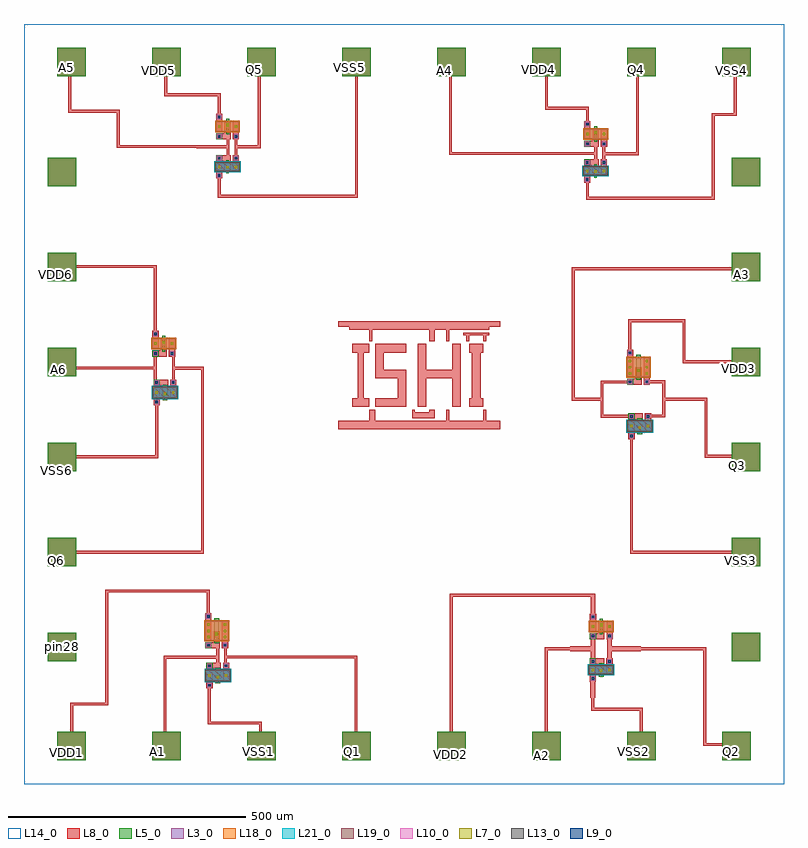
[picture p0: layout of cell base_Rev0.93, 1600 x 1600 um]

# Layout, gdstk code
from math import pi, radians
import gdstk
lib = gdstk.Library(unit=1e-6, precision=1e-09)
def R(c, l, rs):  # rectangles x0, y0, x1, y1
    for r in rs: c.add(gdstk.rectangle(r[:2], r[2:], *l))
def A(c, l, x, y, w, h, nx, ny, dx, dy):  # array of equal rectangles
    R(c, l, [(x+i*dx, y+j*dy, x+i*dx+w, y+j*dy+h) for i in range(nx) for j in range(ny)])
def P(c, l, *ps):  # polygons
    for p in ps: c.add(gdstk.Polygon(p, *l))
L3_0 = (3, 0)
L5_0 = (5, 0)
L7_0 = (7, 0)
L8_0 = (8, 0)
L9_0 = (9, 0)
L10_0 = (10, 0)
L13_0 = (13, 0)
L14_0 = (14, 0)
L18_0 = (18, 0)
L19_0 = (19, 0)
L21_0 = (21, 0)

c_16_5x5_flame = lib.new_cell('16_5x5_flame')
R(c_16_5x5_flame, L14_0, [(-800,-800,800,800), (-750,-750,750,750)])

tin_m1 = lib.new_cell('tin_M1')

v_tin_line3 = lib.new_cell('V_tin_line3')
r = gdstk.Reference(tin_m1, (-20.5,74), rotation=pi); r.repetition = gdstk.Repetition(2, 3, v1=(0,13), v2=(20,20)); v_tin_line3.add(r)
r = gdstk.Reference(tin_m1, (-20.5,-88), rotation=pi); r.repetition = gdstk.Repetition(2, 3, v1=(0,13), v2=(20,-20)); v_tin_line3.add(r)

pmos_array = lib.new_cell('pmos_array')
pmos_array.add(gdstk.Reference(v_tin_line3, (-40,0)))
pmos_array.add(gdstk.Reference(v_tin_line3, (107,0)))

nmos_array = lib.new_cell('nmos_array')
nmos_array.add(gdstk.Reference(v_tin_line3, (-40,0)))
nmos_array.add(gdstk.Reference(v_tin_line3, (107,0)))

resistor_array = lib.new_cell('resistor_array')

cap_con = lib.new_cell('cap_con')
r = gdstk.Reference(tin_m1, (28.25,35.5), rotation=pi); r.repetition = gdstk.Repetition(4, 1, v1=(-13,0), v2=(0,0)); cap_con.add(r)
r = gdstk.Reference(tin_m1, (28.25,-49.5), rotation=pi); r.repetition = gdstk.Repetition(4, 1, v1=(-13,0), v2=(0,0)); cap_con.add(r)

tin_m1_cap_array = lib.new_cell('tin_m1_cap_array')
r = gdstk.Reference(cap_con, (-80,-80)); r.repetition = gdstk.Repetition(2, 2, v1=(150,0), v2=(0,150)); tin_m1_cap_array.add(r)

base_array = lib.new_cell('base_array')
base_array.add(gdstk.Reference(pmos_array, (-160,160)))
base_array.add(gdstk.Reference(nmos_array, (-160,-160)))
base_array.add(gdstk.Reference(resistor_array, (160,-160)))
base_array.add(gdstk.Reference(tin_m1_cap_array, (160,160)))

pad_60_m1_tin = lib.new_cell('pad_60_m1_tin')
R(pad_60_m1_tin, L5_0, [(-30,-30,30,30), (-30,-30,30,30)])
R(pad_60_m1_tin, L8_0, [(-30,-30,30,30)])
r = gdstk.Reference(tin_m1, (22,-23), rotation=pi/2); r.repetition = gdstk.Repetition(4, 4, v1=(0,15), v2=(-15,0)); pad_60_m1_tin.add(r)

dcont = lib.new_cell('dcont')
R(dcont, L3_0, [(-6.5,-6.5,6.5,6.5)])
R(dcont, L7_0, [(-2.5,-2.5,2.5,2.5)])
R(dcont, L8_0, [(-6.5,-6.5,6.5,6.5)])

pcont = lib.new_cell('pcont')
R(pcont, L5_0, [(-6.5,-6.5,6.5,6.5)])
R(pcont, L7_0, [(-2.5,-2.5,2.5,2.5)])
R(pcont, L8_0, [(-6.5,-6.5,6.5,6.5)])
R(pcont, L13_0, [(-2.5,-2.5,2.5,2.5)])

via = lib.new_cell('Via')
R(via, L8_0, [(-6.5,-6.5,6.5,6.5)])
R(via, L9_0, [(-2.5,-2.5,2.5,2.5)])
R(via, L10_0, [(-5,-5,5,5)])
R(via, L13_0, [(-2.5,-2.5,2.5,2.5)])

nch_1 = lib.new_cell('Nch$1')
R(nch_1, L3_0, [(0,17,48,37)])
R(nch_1, L19_0, [(-2,15,50,39)])
R(nch_1, L21_0, [(-4,13,52,41)])
nch_1.add(gdstk.FlexPath([(6.5,17),(6.5,37)], 13, ends="flush", simple_path=True, layer=8, datatype=0))  # L8_0
nch_1.add(gdstk.FlexPath([(41.5,17),(41.5,37)], 13, ends="flush", simple_path=True, layer=8, datatype=0))  # L8_0
nch_1.add(gdstk.FlexPath([(6.5,47.5),(24,47.5),(24,43.5)], 13, ends="flush", simple_path=True, layer=8, datatype=0))  # L8_0
nch_1.add(gdstk.FlexPath([(6.5,6.5),(6.5,21)], 13, ends="flush", simple_path=True, layer=8, datatype=0))  # L8_0
nch_1.add(gdstk.FlexPath([(24,17.5),(24,47.5)], 13, ends="flush", simple_path=True, layer=8, datatype=0))  # L8_0
nch_1.add(gdstk.FlexPath([(41.5,33),(41.5,46.5)], 13, ends="flush", simple_path=True, layer=8, datatype=0))  # L8_0
nch_1.add(gdstk.FlexPath([(24,17),(24,37)], 10, ends=(6.5, 6.5), simple_path=True, layer=5, datatype=0))  # L5_0
nch_1.add(gdstk.Reference(dcont, (6.5,27)))
nch_1.add(gdstk.Reference(dcont, (41.5,27)))
nch_1.add(gdstk.Reference(pcont, (6.5,47.5)))
nch_1.add(gdstk.Reference(via, (6.5,47.5)))
nch_1.add(gdstk.Reference(via, (6.5,6.5)))
nch_1.add(gdstk.Reference(dcont, (24,24)))
nch_1.add(gdstk.Reference(via, (41.5,47.5)))

pch = lib.new_cell('Pch')
R(pch, L3_0, [(0,17,48,57)])
R(pch, L18_0, [(-2,15,50,59)])
pch.add(gdstk.FlexPath([(6.5,17),(6.5,57)], 13, ends="flush", simple_path=True, layer=8, datatype=0))  # L8_0
pch.add(gdstk.FlexPath([(41.5,17),(41.5,57)], 13, ends="flush", simple_path=True, layer=8, datatype=0))  # L8_0
pch.add(gdstk.FlexPath([(6.5,6.5),(24,6.5),(24,10.5)], 13, ends="flush", simple_path=True, layer=8, datatype=0))  # L8_0
pch.add(gdstk.FlexPath([(6.5,53),(6.5,67.5)], 13, ends="flush", simple_path=True, layer=8, datatype=0))  # L8_0
pch.add(gdstk.FlexPath([(24,6.5),(24,36.5)], 13, ends="flush", simple_path=True, layer=8, datatype=0))  # L8_0
pch.add(gdstk.FlexPath([(41.5,9),(41.5,21)], 13, ends="flush", simple_path=True, layer=8, datatype=0))  # L8_0
pch.add(gdstk.FlexPath([(24,17),(24,57)], 10, ends=(6.5, 6.5), simple_path=True, layer=5, datatype=0))  # L5_0
pch.add(gdstk.Reference(dcont, (6.5,24)))
pch.add(gdstk.Reference(dcont, (6.5,37)))
pch.add(gdstk.Reference(dcont, (6.5,50)))
pch.add(gdstk.Reference(dcont, (41.5,24)))
pch.add(gdstk.Reference(dcont, (41.5,37)))
pch.add(gdstk.Reference(dcont, (41.5,50)))
pch.add(gdstk.Reference(pcont, (6.5,6.5)))
pch.add(gdstk.Reference(via, (6.5,6.5)))
pch.add(gdstk.Reference(via, (6.5,67.5)))
pch.add(gdstk.Reference(dcont, (24,30)))
pch.add(gdstk.Reference(via, (41.5,6.5)))

inverter_takuzen = lib.new_cell('INVERTER_Takuzen')
inverter_takuzen.add(gdstk.FlexPath([(55.7,87.8),(55.7,-2.4)], 6, ends="flush", simple_path=True, layer=8, datatype=0))  # L8_0
inverter_takuzen.add(gdstk.FlexPath([(72.1,111.4),(72.1,-8.8)], 6, ends="flush", simple_path=True, layer=8, datatype=0))  # L8_0
inverter_takuzen.add(gdstk.FlexPath([(38.2,6.7),(38.2,-52.7)], 6, ends="flush", simple_path=True, layer=8, datatype=0))  # L8_0
inverter_takuzen.add(gdstk.FlexPath([(53.9,39.2),(-19.7,39.2)], 6, ends="flush", simple_path=True, layer=8, datatype=0))  # L8_0
inverter_takuzen.add(gdstk.FlexPath([(72.7,39.5),(135.3,39.5)], 6, ends="flush", simple_path=True, layer=8, datatype=0))  # L8_0
inverter_takuzen.add(gdstk.FlexPath([(36.2,124.6),(36.2,178.2)], 6, ends="flush", simple_path=True, layer=8, datatype=0))  # L8_0
inverter_takuzen.add(gdstk.Reference(nch_1, (32.1,-26.5)))
inverter_takuzen.add(gdstk.Reference(pch, (29.6,57.5)))
inverter_takuzen.add(gdstk.Label('Q', (117.2,40.9), layer=8, texttype=0))

dcont_2 = lib.new_cell('dcont$2')
R(dcont_2, L3_0, [(-6.5,-6.5,6.5,6.5)])
R(dcont_2, L7_0, [(-2.5,-2.5,2.5,2.5)])
R(dcont_2, L8_0, [(-6.5,-6.5,6.5,6.5)])

pcont_2 = lib.new_cell('pcont$2')
R(pcont_2, L5_0, [(-6.5,-6.5,6.5,6.5)])
R(pcont_2, L7_0, [(-2.5,-2.5,2.5,2.5)])
R(pcont_2, L8_0, [(-6.5,-6.5,6.5,6.5)])
R(pcont_2, L13_0, [(-2.5,-2.5,2.5,2.5)])

via_2 = lib.new_cell('Via$2')
R(via_2, L8_0, [(-6.5,-6.5,6.5,6.5)])
R(via_2, L9_0, [(-2.5,-2.5,2.5,2.5)])
R(via_2, L10_0, [(-5,-5,5,5)])
R(via_2, L13_0, [(-2.5,-2.5,2.5,2.5)])

nch = lib.new_cell('Nch')
R(nch, L3_0, [(0,17,48,32)])
R(nch, L19_0, [(-2,15,50,34)])
R(nch, L21_0, [(-4,13,52,36)])
nch.add(gdstk.FlexPath([(6.5,17),(6.5,32)], 13, ends="flush", simple_path=True, layer=8, datatype=0))  # L8_0
nch.add(gdstk.FlexPath([(41.5,17),(41.5,32)], 13, ends="flush", simple_path=True, layer=8, datatype=0))  # L8_0
nch.add(gdstk.FlexPath([(6.5,42.5),(24,42.5),(24,38.5)], 13, ends="flush", simple_path=True, layer=8, datatype=0))  # L8_0
nch.add(gdstk.FlexPath([(6.5,6.5),(6.5,21)], 13, ends="flush", simple_path=True, layer=8, datatype=0))  # L8_0
nch.add(gdstk.FlexPath([(24,17),(24,42.5)], 13, ends="flush", simple_path=True, layer=8, datatype=0))  # L8_0
nch.add(gdstk.FlexPath([(41.5,28),(41.5,41.5)], 13, ends="flush", simple_path=True, layer=8, datatype=0))  # L8_0
nch.add(gdstk.FlexPath([(24,17),(24,32)], 10, ends=(6.5, 6.5), simple_path=True, layer=5, datatype=0))  # L5_0
nch.add(gdstk.Reference(dcont_2, (6.5,24.5)))
nch.add(gdstk.Reference(dcont_2, (41.5,24.5)))
nch.add(gdstk.Reference(pcont_2, (6.5,42.5)))
nch.add(gdstk.Reference(via_2, (6.5,42.5)))
nch.add(gdstk.Reference(via_2, (6.5,6.5)))
nch.add(gdstk.Reference(dcont_2, (24,23.5)))
nch.add(gdstk.Reference(via_2, (41.5,42.5)))

pch_1 = lib.new_cell('Pch$1')
R(pch_1, L3_0, [(0,17,48,37)])
R(pch_1, L18_0, [(-2,15,50,39)])
pch_1.add(gdstk.FlexPath([(6.5,17),(6.5,37)], 13, ends="flush", simple_path=True, layer=8, datatype=0))  # L8_0
pch_1.add(gdstk.FlexPath([(41.5,17),(41.5,37)], 13, ends="flush", simple_path=True, layer=8, datatype=0))  # L8_0
pch_1.add(gdstk.FlexPath([(6.5,6.5),(24,6.5),(24,10.5)], 13, ends="flush", simple_path=True, layer=8, datatype=0))  # L8_0
pch_1.add(gdstk.FlexPath([(6.5,33),(6.5,47.5)], 13, ends="flush", simple_path=True, layer=8, datatype=0))  # L8_0
pch_1.add(gdstk.FlexPath([(24,6.5),(24,36.5)], 13, ends="flush", simple_path=True, layer=8, datatype=0))  # L8_0
pch_1.add(gdstk.FlexPath([(41.5,9),(41.5,21)], 13, ends="flush", simple_path=True, layer=8, datatype=0))  # L8_0
pch_1.add(gdstk.FlexPath([(24,17),(24,37)], 6, ends=(6.5, 6.5), simple_path=True, layer=5, datatype=0))  # L5_0
pch_1.add(gdstk.Reference(dcont_2, (6.5,27)))
pch_1.add(gdstk.Reference(dcont_2, (41.5,27)))
pch_1.add(gdstk.Reference(pcont_2, (6.5,6.5)))
pch_1.add(gdstk.Reference(via_2, (6.5,6.5)))
pch_1.add(gdstk.Reference(via_2, (6.5,47.5)))
pch_1.add(gdstk.Reference(dcont_2, (24,30)))
pch_1.add(gdstk.Reference(via_2, (41.5,6.5)))

inverter_elderline = lib.new_cell('INVERTER_elderline')
P(inverter_elderline, L8_0, [(-42.6,88.4),(-42.6,88.4),(-42.6,88.4),(-42.6,88.4)])
inverter_elderline.add(gdstk.FlexPath([(-144.1,66.2),(-144.1,11.1)], 10, ends="flush", simple_path=True, layer=8, datatype=0))  # L8_0
inverter_elderline.add(gdstk.FlexPath([(-109.3,66),(-109.3,11.4)], 10, ends="flush", simple_path=True, layer=8, datatype=0))  # L8_0
inverter_elderline.add(gdstk.FlexPath([(-144,101.4),(-144,152.6)], 10, ends="flush", simple_path=True, layer=8, datatype=0))  # L8_0
inverter_elderline.add(gdstk.FlexPath([(-109.1,40),(-43.6,40)], 10, ends="flush", simple_path=True, layer=8, datatype=0))  # L8_0
inverter_elderline.add(gdstk.FlexPath([(-144.3,39.9),(-191.7,39.9)], 10, ends="flush", simple_path=True, layer=8, datatype=0))  # L8_0
inverter_elderline.add(gdstk.FlexPath([(-144.5,-24.2),(-144.5,-63.8)], 10, ends="flush", simple_path=True, layer=8, datatype=0))  # L8_0
inverter_elderline.add(gdstk.Reference(nch, (-151,-29.4)))
inverter_elderline.add(gdstk.Reference(pch_1, (-150.6,59.7)))
inverter_elderline.add(gdstk.Label('A', (-188.9,39), layer=8, texttype=0))
inverter_elderline.add(gdstk.Label('Q', (-46.3,40), layer=8, texttype=0))
inverter_elderline.add(gdstk.Label('VDD', (-144,148.1), layer=8, texttype=0))
inverter_elderline.add(gdstk.Label('VSS', (-146.3,-60.7), layer=8, texttype=0))

dcont_3 = lib.new_cell('dcont$3')
R(dcont_3, L3_0, [(-6.5,-6.5,6.5,6.5)])
R(dcont_3, L7_0, [(-2.5,-2.5,2.5,2.5)])
R(dcont_3, L8_0, [(-6.5,-6.5,6.5,6.5)])

pcont_3 = lib.new_cell('pcont$3')
R(pcont_3, L5_0, [(-6.5,-6.5,6.5,6.5)])
R(pcont_3, L7_0, [(-2.5,-2.5,2.5,2.5)])
R(pcont_3, L8_0, [(-6.5,-6.5,6.5,6.5)])
R(pcont_3, L13_0, [(-2.5,-2.5,2.5,2.5)])

via_3 = lib.new_cell('Via$3')
R(via_3, L8_0, [(-6.5,-6.5,6.5,6.5)])
R(via_3, L9_0, [(-2.5,-2.5,2.5,2.5)])
R(via_3, L10_0, [(-5,-5,5,5)])
R(via_3, L13_0, [(-2.5,-2.5,2.5,2.5)])

pch_1_1 = lib.new_cell('Pch$1$1')
R(pch_1_1, L3_0, [(0,17,48,57)])
R(pch_1_1, L18_0, [(-2,15,50,59)])
pch_1_1.add(gdstk.FlexPath([(6.5,17),(6.5,57)], 13, ends="flush", simple_path=True, layer=8, datatype=0))  # L8_0
pch_1_1.add(gdstk.FlexPath([(41.5,17),(41.5,57)], 13, ends="flush", simple_path=True, layer=8, datatype=0))  # L8_0
pch_1_1.add(gdstk.FlexPath([(6.5,6.5),(24,6.5),(24,10.5)], 13, ends="flush", simple_path=True, layer=8, datatype=0))  # L8_0
pch_1_1.add(gdstk.FlexPath([(6.5,53),(6.5,67.5)], 13, ends="flush", simple_path=True, layer=8, datatype=0))  # L8_0
pch_1_1.add(gdstk.FlexPath([(24,6.5),(24,36.5)], 13, ends="flush", simple_path=True, layer=8, datatype=0))  # L8_0
pch_1_1.add(gdstk.FlexPath([(41.5,9),(41.5,21)], 13, ends="flush", simple_path=True, layer=8, datatype=0))  # L8_0
pch_1_1.add(gdstk.FlexPath([(24,17),(24,57)], 10, ends=(6.5, 6.5), simple_path=True, layer=5, datatype=0))  # L5_0
pch_1_1.add(gdstk.Reference(dcont_3, (6.5,24)))
pch_1_1.add(gdstk.Reference(dcont_3, (6.5,37)))
pch_1_1.add(gdstk.Reference(dcont_3, (6.5,50)))
pch_1_1.add(gdstk.Reference(dcont_3, (41.5,24)))
pch_1_1.add(gdstk.Reference(dcont_3, (41.5,37)))
pch_1_1.add(gdstk.Reference(dcont_3, (41.5,50)))
pch_1_1.add(gdstk.Reference(pcont_3, (6.5,6.5)))
pch_1_1.add(gdstk.Reference(via_3, (6.5,6.5)))
pch_1_1.add(gdstk.Reference(via_3, (6.5,67.5)))
pch_1_1.add(gdstk.Reference(dcont_3, (24,30)))
pch_1_1.add(gdstk.Reference(via_3, (41.5,6.5)))

nch_2 = lib.new_cell('Nch$2')
R(nch_2, L3_0, [(0,17,48,37)])
R(nch_2, L19_0, [(-2,15,50,39)])
R(nch_2, L21_0, [(-4,13,52,41)])
nch_2.add(gdstk.FlexPath([(6.5,17),(6.5,37)], 13, ends="flush", simple_path=True, layer=8, datatype=0))  # L8_0
nch_2.add(gdstk.FlexPath([(41.5,17),(41.5,37)], 13, ends="flush", simple_path=True, layer=8, datatype=0))  # L8_0
nch_2.add(gdstk.FlexPath([(6.5,47.5),(24,47.5),(24,43.5)], 13, ends="flush", simple_path=True, layer=8, datatype=0))  # L8_0
nch_2.add(gdstk.FlexPath([(6.5,6.5),(6.5,21)], 13, ends="flush", simple_path=True, layer=8, datatype=0))  # L8_0
nch_2.add(gdstk.FlexPath([(24,17.5),(24,47.5)], 13, ends="flush", simple_path=True, layer=8, datatype=0))  # L8_0
nch_2.add(gdstk.FlexPath([(41.5,33),(41.5,46.5)], 13, ends="flush", simple_path=True, layer=8, datatype=0))  # L8_0
nch_2.add(gdstk.FlexPath([(24,17),(24,37)], 10, ends=(6.5, 6.5), simple_path=True, layer=5, datatype=0))  # L5_0
nch_2.add(gdstk.Reference(dcont_3, (6.5,27)))
nch_2.add(gdstk.Reference(dcont_3, (41.5,27)))
nch_2.add(gdstk.Reference(pcont_3, (6.5,47.5)))
nch_2.add(gdstk.Reference(via_3, (6.5,47.5)))
nch_2.add(gdstk.Reference(via_3, (6.5,6.5)))
nch_2.add(gdstk.Reference(dcont_3, (24,24)))
nch_2.add(gdstk.Reference(via_3, (41.5,47.5)))

inverter_pine_4_ = lib.new_cell('INVERTER_pine-4$')
inverter_pine_4_.add(gdstk.FlexPath([(-100.7,20.3),(-39.5,20.3)], 6, ends="flush", simple_path=True, layer=8, datatype=0))  # L8_0
inverter_pine_4_.add(gdstk.FlexPath([(23,56.3),(-40.2,56.3),(-40.2,-16.1),(26.6,-16.1)], 6, ends="flush", simple_path=True, layer=8, datatype=0))  # L8_0
inverter_pine_4_.add(gdstk.FlexPath([(50.4,57.2),(90,57.2),(90,-15.2),(52.8,-15.2)], 6, ends="flush", simple_path=True, layer=8, datatype=0))  # L8_0
inverter_pine_4_.add(gdstk.FlexPath([(90.6,20),(144.1,20)], 6, ends="flush", simple_path=True, layer=8, datatype=0))  # L8_0
inverter_pine_4_.add(gdstk.FlexPath([(22,-56.7),(22,-139.3)], 6, ends="flush", simple_path=True, layer=8, datatype=0))  # L8_0
inverter_pine_4_.add(gdstk.FlexPath([(18.5,117.3),(18.5,185.5)], 6, ends="flush", simple_path=True, layer=8, datatype=0))  # L8_0
inverter_pine_4_.add(gdstk.Reference(pch_1_1, (12.5,50.4)))
inverter_pine_4_.add(gdstk.Reference(nch_2, (15.3,-63.7)))
inverter_pine_4_.add(gdstk.Label('vdd', (18.5,181.5), layer=8, texttype=0))
inverter_pine_4_.add(gdstk.Label('A', (-97.1,19.1), layer=8, texttype=0))
inverter_pine_4_.add(gdstk.Label('Q', (138.9,20.2), layer=8, texttype=0))
inverter_pine_4_.add(gdstk.Label('vss', (23.3,-133.6), layer=8, texttype=0))

dcont_4 = lib.new_cell('dcont$4')
R(dcont_4, L3_0, [(-6.5,-6.5,6.5,6.5)])
R(dcont_4, L7_0, [(-2.5,-2.5,2.5,2.5)])
R(dcont_4, L8_0, [(-6.5,-6.5,6.5,6.5)])

pcont_4 = lib.new_cell('pcont$4')
R(pcont_4, L5_0, [(-6.5,-6.5,6.5,6.5)])
R(pcont_4, L7_0, [(-2.5,-2.5,2.5,2.5)])
R(pcont_4, L8_0, [(-6.5,-6.5,6.5,6.5)])
R(pcont_4, L13_0, [(-2.5,-2.5,2.5,2.5)])

via_4 = lib.new_cell('Via$4')
R(via_4, L8_0, [(-6.5,-6.5,6.5,6.5)])
R(via_4, L9_0, [(-2.5,-2.5,2.5,2.5)])
R(via_4, L10_0, [(-5,-5,5,5)])
R(via_4, L13_0, [(-2.5,-2.5,2.5,2.5)])

nch_3 = lib.new_cell('Nch$3')
R(nch_3, L3_0, [(0,17,48,32)])
R(nch_3, L19_0, [(-2,15,50,34)])
R(nch_3, L21_0, [(-4,13,52,36)])
nch_3.add(gdstk.FlexPath([(6.5,17),(6.5,32)], 13, ends="flush", simple_path=True, layer=8, datatype=0))  # L8_0
nch_3.add(gdstk.FlexPath([(41.5,17),(41.5,32)], 13, ends="flush", simple_path=True, layer=8, datatype=0))  # L8_0
nch_3.add(gdstk.FlexPath([(6.5,42.5),(24,42.5),(24,38.5)], 13, ends="flush", simple_path=True, layer=8, datatype=0))  # L8_0
nch_3.add(gdstk.FlexPath([(6.5,6.5),(6.5,21)], 13, ends="flush", simple_path=True, layer=8, datatype=0))  # L8_0
nch_3.add(gdstk.FlexPath([(24,17),(24,42.5)], 13, ends="flush", simple_path=True, layer=8, datatype=0))  # L8_0
nch_3.add(gdstk.FlexPath([(41.5,28),(41.5,41.5)], 13, ends="flush", simple_path=True, layer=8, datatype=0))  # L8_0
nch_3.add(gdstk.FlexPath([(24,17),(24,32)], 6, ends=(6.5, 6.5), simple_path=True, layer=5, datatype=0))  # L5_0
nch_3.add(gdstk.Reference(dcont_4, (6.5,24.5)))
nch_3.add(gdstk.Reference(dcont_4, (41.5,24.5)))
nch_3.add(gdstk.Reference(pcont_4, (6.5,42.5)))
nch_3.add(gdstk.Reference(via_4, (6.5,42.5)))
nch_3.add(gdstk.Reference(via_4, (6.5,6.5)))
nch_3.add(gdstk.Reference(dcont_4, (24,23.5)))
nch_3.add(gdstk.Reference(via_4, (41.5,42.5)))

pch_2 = lib.new_cell('Pch$2')
R(pch_2, L3_0, [(0,17,48,37)])
R(pch_2, L18_0, [(-2,15,50,39)])
pch_2.add(gdstk.FlexPath([(6.5,17),(6.5,37)], 13, ends="flush", simple_path=True, layer=8, datatype=0))  # L8_0
pch_2.add(gdstk.FlexPath([(41.5,17),(41.5,37)], 13, ends="flush", simple_path=True, layer=8, datatype=0))  # L8_0
pch_2.add(gdstk.FlexPath([(6.5,6.5),(24,6.5),(24,10.5)], 13, ends="flush", simple_path=True, layer=8, datatype=0))  # L8_0
pch_2.add(gdstk.FlexPath([(6.5,33),(6.5,47.5)], 13, ends="flush", simple_path=True, layer=8, datatype=0))  # L8_0
pch_2.add(gdstk.FlexPath([(24,6.5),(24,36.5)], 13, ends="flush", simple_path=True, layer=8, datatype=0))  # L8_0
pch_2.add(gdstk.FlexPath([(41.5,9),(41.5,21)], 13, ends="flush", simple_path=True, layer=8, datatype=0))  # L8_0
pch_2.add(gdstk.FlexPath([(24,17),(24,37)], 6, ends=(6.5, 6.5), simple_path=True, layer=5, datatype=0))  # L5_0
pch_2.add(gdstk.Reference(dcont_4, (6.5,27)))
pch_2.add(gdstk.Reference(dcont_4, (41.5,27)))
pch_2.add(gdstk.Reference(pcont_4, (6.5,6.5)))
pch_2.add(gdstk.Reference(via_4, (6.5,6.5)))
pch_2.add(gdstk.Reference(via_4, (6.5,47.5)))
pch_2.add(gdstk.Reference(dcont_4, (24,30)))
pch_2.add(gdstk.Reference(via_4, (41.5,6.5)))

inverter_radioheadozawa = lib.new_cell('INVERTER_radioheadozawa')
inverter_radioheadozawa.add(gdstk.FlexPath([(136.7,81.3),(136.7,41.8),(136.8,41.8),(136.8,42.2)], 6, ends="flush", simple_path=True, layer=8, datatype=0))  # L8_0
inverter_radioheadozawa.add(gdstk.FlexPath([(119.5,104.7),(119.5,23.1)], 6, ends="flush", simple_path=True, layer=8, datatype=0))  # L8_0
inverter_radioheadozawa.add(gdstk.FlexPath([(136.6,61.1),(207.6,61.1),(207.6,61.1)], 6, ends="flush", simple_path=True, layer=8, datatype=0))  # L8_0
inverter_radioheadozawa.add(gdstk.FlexPath([(119.4,61.3),(49.8,61.3)], 6, ends="flush", simple_path=True, layer=8, datatype=0))  # L8_0
inverter_radioheadozawa.add(gdstk.FlexPath([(102.2,19.1),(102.2,-32.8)], 6, ends="flush", simple_path=True, layer=8, datatype=0))  # L8_0
inverter_radioheadozawa.add(gdstk.FlexPath([(102.4,96.7),(102.4,156.7)], 6, ends="flush", simple_path=True, layer=8, datatype=0))  # L8_0
inverter_radioheadozawa.add(gdstk.Reference(nch_3, (95.2,0.1)))
inverter_radioheadozawa.add(gdstk.Reference(pch_2, (95.5,75.4)))
inverter_radioheadozawa.add(gdstk.Label('vout', (193.5,60.4), layer=8, texttype=0))
inverter_radioheadozawa.add(gdstk.Label('VDD', (102.9,149.1), layer=8, texttype=0))
inverter_radioheadozawa.add(gdstk.Label('vin', (55.9,60.6), layer=8, texttype=0))
inverter_radioheadozawa.add(gdstk.Label('VSS', (102.6,-26.4), layer=8, texttype=0))

dcont_5 = lib.new_cell('dcont$5')
R(dcont_5, L3_0, [(-6.5,-6.5,6.5,6.5)])
R(dcont_5, L7_0, [(-2.5,-2.5,2.5,2.5)])
R(dcont_5, L8_0, [(-6.5,-6.5,6.5,6.5)])

pcont_5 = lib.new_cell('pcont$5')
R(pcont_5, L5_0, [(-6.5,-6.5,6.5,6.5)])
R(pcont_5, L7_0, [(-2.5,-2.5,2.5,2.5)])
R(pcont_5, L8_0, [(-6.5,-6.5,6.5,6.5)])
R(pcont_5, L13_0, [(-2.5,-2.5,2.5,2.5)])

via_5 = lib.new_cell('Via$5')
R(via_5, L8_0, [(-6.5,-6.5,6.5,6.5)])
R(via_5, L9_0, [(-2.5,-2.5,2.5,2.5)])
R(via_5, L10_0, [(-5,-5,5,5)])
R(via_5, L13_0, [(-2.5,-2.5,2.5,2.5)])

pch_1_2 = lib.new_cell('Pch$1$2')
R(pch_1_2, L3_0, [(0,17,48,37)])
R(pch_1_2, L18_0, [(-2,15,50,39)])
pch_1_2.add(gdstk.FlexPath([(6.5,17),(6.5,37)], 13, ends="flush", simple_path=True, layer=8, datatype=0))  # L8_0
pch_1_2.add(gdstk.FlexPath([(41.5,17),(41.5,37)], 13, ends="flush", simple_path=True, layer=8, datatype=0))  # L8_0
pch_1_2.add(gdstk.FlexPath([(6.5,6.5),(24,6.5),(24,10.5)], 13, ends="flush", simple_path=True, layer=8, datatype=0))  # L8_0
pch_1_2.add(gdstk.FlexPath([(6.5,33),(6.5,47.5)], 13, ends="flush", simple_path=True, layer=8, datatype=0))  # L8_0
pch_1_2.add(gdstk.FlexPath([(24,6.5),(24,36.5)], 13, ends="flush", simple_path=True, layer=8, datatype=0))  # L8_0
pch_1_2.add(gdstk.FlexPath([(41.5,9),(41.5,21)], 13, ends="flush", simple_path=True, layer=8, datatype=0))  # L8_0
pch_1_2.add(gdstk.FlexPath([(24,17),(24,37)], 6, ends=(6.5, 6.5), simple_path=True, layer=5, datatype=0))  # L5_0
pch_1_2.add(gdstk.Reference(dcont_5, (6.5,27)))
pch_1_2.add(gdstk.Reference(dcont_5, (41.5,27)))
pch_1_2.add(gdstk.Reference(pcont_5, (6.5,6.5)))
pch_1_2.add(gdstk.Reference(via_5, (6.5,6.5)))
pch_1_2.add(gdstk.Reference(via_5, (6.5,47.5)))
pch_1_2.add(gdstk.Reference(dcont_5, (24,30)))
pch_1_2.add(gdstk.Reference(via_5, (41.5,6.5)))

nch_4 = lib.new_cell('Nch$4')
R(nch_4, L3_0, [(0,17,48,32)])
R(nch_4, L19_0, [(-2,15,50,34)])
R(nch_4, L21_0, [(-4,13,52,36)])
nch_4.add(gdstk.FlexPath([(6.5,17),(6.5,32)], 13, ends="flush", simple_path=True, layer=8, datatype=0))  # L8_0
nch_4.add(gdstk.FlexPath([(41.5,17),(41.5,32)], 13, ends="flush", simple_path=True, layer=8, datatype=0))  # L8_0
nch_4.add(gdstk.FlexPath([(6.5,42.5),(24,42.5),(24,38.5)], 13, ends="flush", simple_path=True, layer=8, datatype=0))  # L8_0
nch_4.add(gdstk.FlexPath([(6.5,6.5),(6.5,21)], 13, ends="flush", simple_path=True, layer=8, datatype=0))  # L8_0
nch_4.add(gdstk.FlexPath([(24,17),(24,42.5)], 13, ends="flush", simple_path=True, layer=8, datatype=0))  # L8_0
nch_4.add(gdstk.FlexPath([(41.5,28),(41.5,41.5)], 13, ends="flush", simple_path=True, layer=8, datatype=0))  # L8_0
nch_4.add(gdstk.FlexPath([(24,17),(24,32)], 6, ends=(6.5, 6.5), simple_path=True, layer=5, datatype=0))  # L5_0
nch_4.add(gdstk.Reference(dcont_5, (6.5,24.5)))
nch_4.add(gdstk.Reference(dcont_5, (41.5,24.5)))
nch_4.add(gdstk.Reference(pcont_5, (6.5,42.5)))
nch_4.add(gdstk.Reference(via_5, (6.5,42.5)))
nch_4.add(gdstk.Reference(via_5, (6.5,6.5)))
nch_4.add(gdstk.Reference(dcont_5, (24,23.5)))
nch_4.add(gdstk.Reference(via_5, (41.5,42.5)))

inverter_stevekasuya = lib.new_cell('INVERTER_stevekasuya')
inverter_stevekasuya.add(gdstk.FlexPath([(119.4,71.4),(119.4,28.2)], 6, ends="flush", simple_path=True, layer=8, datatype=0))  # L8_0
inverter_stevekasuya.add(gdstk.FlexPath([(136.2,72.7),(136.2,24.3),(136.2,24.3),(136.2,24.3)], 6, ends="flush", simple_path=True, layer=8, datatype=0))  # L8_0
inverter_stevekasuya.add(gdstk.FlexPath([(101.4,112.6),(101.4,159.8)], 6, ends="flush", simple_path=True, layer=8, datatype=0))  # L8_0
inverter_stevekasuya.add(gdstk.FlexPath([(136.5,50.4),(185.2,50.4)], 6, ends="flush", simple_path=True, layer=8, datatype=0))  # L8_0
inverter_stevekasuya.add(gdstk.FlexPath([(119.1,50.8),(53.3,50.8)], 6, ends="flush", simple_path=True, layer=8, datatype=0))  # L8_0
inverter_stevekasuya.add(gdstk.FlexPath([(101,-10.7),(101,-53.9)], 6, ends="flush", simple_path=True, layer=8, datatype=0))  # L8_0
inverter_stevekasuya.add(gdstk.Reference(pch_1_2, (94.6,66)))
inverter_stevekasuya.add(gdstk.Reference(nch_4, (94.5,-16.2)))
inverter_stevekasuya.add(gdstk.Label('VDD', (101.8,156), layer=8, texttype=0))
inverter_stevekasuya.add(gdstk.Label('A', (58.6,50.7), layer=8, texttype=0))
inverter_stevekasuya.add(gdstk.Label('Q', (183.9,51.3), layer=8, texttype=0))
inverter_stevekasuya.add(gdstk.Label('VSS', (103.9,-51.4), layer=8, texttype=0))

ishikai_logo = lib.new_cell('ISHIKAI_LOGO')
A(ishikai_logo, L8_0, 6, 36, 6, 6, 57, 3, 6, 6)
A(ishikai_logo, L8_0, 72, 54, 6, 6, 1, 4, 0, 6)
A(ishikai_logo, L8_0, 78, 54, 6, 6, 1, 4, 0, 6)
A(ishikai_logo, L8_0, 234, 54, 6, 6, 1, 4, 0, 6)
A(ishikai_logo, L8_0, 312, 54, 6, 6, 1, 4, 0, 6)
A(ishikai_logo, L8_0, 162, 60, 6, 6, 8, 2, 6, 6)
A(ishikai_logo, L8_0, 36, 84, 6, 6, 6, 3, 6, 6)
A(ishikai_logo, L8_0, 84, 84, 6, 6, 11, 3, 6, 6)
A(ishikai_logo, L8_0, 174, 84, 6, 6, 3, 10, 6, 6)
A(ishikai_logo, L8_0, 246, 84, 6, 6, 3, 10, 6, 6)
A(ishikai_logo, L8_0, 282, 84, 6, 6, 5, 3, 6, 6)
A(ishikai_logo, L8_0, 48, 102, 6, 6, 1, 16, 0, 6)
A(ishikai_logo, L8_0, 54, 102, 6, 6, 1, 16, 0, 6)
A(ishikai_logo, L8_0, 132, 102, 6, 6, 3, 7, 6, 6)
A(ishikai_logo, L8_0, 288, 102, 6, 6, 3, 16, 6, 6)
A(ishikai_logo, L8_0, 84, 144, 6, 6, 11, 3, 6, 6)
A(ishikai_logo, L8_0, 174, 144, 6, 6, 15, 3, 6, 6)
A(ishikai_logo, L8_0, 84, 162, 6, 6, 3, 6, 6, 6)
A(ishikai_logo, L8_0, 174, 162, 6, 6, 3, 9, 6, 6)
A(ishikai_logo, L8_0, 246, 162, 6, 6, 3, 9, 6, 6)
A(ishikai_logo, L8_0, 36, 198, 6, 6, 6, 3, 6, 6)
A(ishikai_logo, L8_0, 84, 198, 6, 6, 11, 3, 6, 6)
A(ishikai_logo, L8_0, 282, 198, 6, 6, 5, 3, 6, 6)
A(ishikai_logo, L8_0, 72, 222, 6, 6, 1, 4, 0, 6)
A(ishikai_logo, L8_0, 198, 222, 6, 6, 1, 4, 0, 6)
A(ishikai_logo, L8_0, 204, 222, 6, 6, 1, 4, 0, 6)
A(ishikai_logo, L8_0, 234, 222, 6, 6, 1, 4, 0, 6)
A(ishikai_logo, L8_0, 270, 234, 6, 6, 9, 1, 6, 0)
A(ishikai_logo, L8_0, 30, 246, 6, 6, 49, 1, 6, 0)
A(ishikai_logo, L8_0, 6, 252, 6, 6, 57, 2, 6, 6)
R(ishikai_logo, L8_0, [(162,72,168,78), (198,72,204,78), (204,72,210,78), (276,222,282,228), (312,222,318,228), (276,228,282,234), (312,228,318,234)])

dcont_6 = lib.new_cell('dcont$6')
R(dcont_6, L3_0, [(-6.5,-6.5,6.5,6.5)])
R(dcont_6, L7_0, [(-2.5,-2.5,2.5,2.5)])
R(dcont_6, L8_0, [(-6.5,-6.5,6.5,6.5)])

pcont_6 = lib.new_cell('pcont$6')
R(pcont_6, L5_0, [(-6.5,-6.5,6.5,6.5)])
R(pcont_6, L7_0, [(-2.5,-2.5,2.5,2.5)])
R(pcont_6, L8_0, [(-6.5,-6.5,6.5,6.5)])
R(pcont_6, L13_0, [(-2.5,-2.5,2.5,2.5)])

via_6 = lib.new_cell('Via$6')
R(via_6, L8_0, [(-6.5,-6.5,6.5,6.5)])
R(via_6, L9_0, [(-2.5,-2.5,2.5,2.5)])
R(via_6, L10_0, [(-5,-5,5,5)])
R(via_6, L13_0, [(-2.5,-2.5,2.5,2.5)])

nch_5 = lib.new_cell('Nch$5')
R(nch_5, L3_0, [(0,17,48,37)])
R(nch_5, L19_0, [(-2,15,50,39)])
R(nch_5, L21_0, [(-4,13,52,41)])
nch_5.add(gdstk.FlexPath([(6.5,17),(6.5,37)], 13, ends="flush", simple_path=True, layer=8, datatype=0))  # L8_0
nch_5.add(gdstk.FlexPath([(41.5,17),(41.5,37)], 13, ends="flush", simple_path=True, layer=8, datatype=0))  # L8_0
nch_5.add(gdstk.FlexPath([(6.5,47.5),(24,47.5),(24,43.5)], 13, ends="flush", simple_path=True, layer=8, datatype=0))  # L8_0
nch_5.add(gdstk.FlexPath([(6.5,6.5),(6.5,21)], 13, ends="flush", simple_path=True, layer=8, datatype=0))  # L8_0
nch_5.add(gdstk.FlexPath([(24,17.5),(24,47.5)], 13, ends="flush", simple_path=True, layer=8, datatype=0))  # L8_0
nch_5.add(gdstk.FlexPath([(41.5,33),(41.5,46.5)], 13, ends="flush", simple_path=True, layer=8, datatype=0))  # L8_0
nch_5.add(gdstk.FlexPath([(24,17),(24,37)], 10, ends=(6.5, 6.5), simple_path=True, layer=5, datatype=0))  # L5_0
nch_5.add(gdstk.Reference(dcont_6, (6.5,27)))
nch_5.add(gdstk.Reference(dcont_6, (41.5,27)))
nch_5.add(gdstk.Reference(pcont_6, (6.5,47.5)))
nch_5.add(gdstk.Reference(via_6, (6.5,47.5)))
nch_5.add(gdstk.Reference(via_6, (6.5,6.5)))
nch_5.add(gdstk.Reference(dcont_6, (24,24)))
nch_5.add(gdstk.Reference(via_6, (41.5,47.5)))

pch_2_1 = lib.new_cell('Pch$2$1')
R(pch_2_1, L3_0, [(0,17,48,37)])
R(pch_2_1, L18_0, [(-2,15,50,39)])
pch_2_1.add(gdstk.FlexPath([(6.5,17),(6.5,37)], 13, ends="flush", simple_path=True, layer=8, datatype=0))  # L8_0
pch_2_1.add(gdstk.FlexPath([(41.5,17),(41.5,37)], 13, ends="flush", simple_path=True, layer=8, datatype=0))  # L8_0
pch_2_1.add(gdstk.FlexPath([(6.5,6.5),(24,6.5),(24,10.5)], 13, ends="flush", simple_path=True, layer=8, datatype=0))  # L8_0
pch_2_1.add(gdstk.FlexPath([(6.5,33),(6.5,47.5)], 13, ends="flush", simple_path=True, layer=8, datatype=0))  # L8_0
pch_2_1.add(gdstk.FlexPath([(24,6.5),(24,36.5)], 13, ends="flush", simple_path=True, layer=8, datatype=0))  # L8_0
pch_2_1.add(gdstk.FlexPath([(41.5,9),(41.5,21)], 13, ends="flush", simple_path=True, layer=8, datatype=0))  # L8_0
pch_2_1.add(gdstk.FlexPath([(24,17),(24,37)], 6, ends=(6.5, 6.5), simple_path=True, layer=5, datatype=0))  # L5_0
pch_2_1.add(gdstk.Reference(dcont_6, (6.5,27)))
pch_2_1.add(gdstk.Reference(dcont_6, (41.5,27)))
pch_2_1.add(gdstk.Reference(pcont_6, (6.5,6.5)))
pch_2_1.add(gdstk.Reference(via_6, (6.5,6.5)))
pch_2_1.add(gdstk.Reference(via_6, (6.5,47.5)))
pch_2_1.add(gdstk.Reference(dcont_6, (24,30)))
pch_2_1.add(gdstk.Reference(via_6, (41.5,6.5)))

inverter_hizuki1030 = lib.new_cell('INVERTER_Hizuki1030')
inverter_hizuki1030.add(gdstk.FlexPath([(18.5,116.1),(18.5,55.9),(20,55.9)], 6, ends="flush", simple_path=True, layer=8, datatype=0))  # L8_0
inverter_hizuki1030.add(gdstk.FlexPath([(53.3,116.7),(56.8,116.7),(56.8,52.8)], 6, ends="flush", simple_path=True, layer=8, datatype=0))  # L8_0
inverter_hizuki1030.add(gdstk.FlexPath([(56.3,85.6),(117.7,85.6)], 6, ends="flush", simple_path=True, layer=8, datatype=0))  # L8_0
inverter_hizuki1030.add(gdstk.FlexPath([(18.5,85.9),(-29.9,85.9)], 6, ends="flush", simple_path=True, layer=8, datatype=0))  # L8_0
inverter_hizuki1030.add(gdstk.FlexPath([(21.7,13.5),(21.7,-24.6)], 6, ends="flush", simple_path=True, layer=8, datatype=0))  # L8_0
inverter_hizuki1030.add(gdstk.FlexPath([(18.5,157.9),(18.5,200.1)], 6, ends="flush", simple_path=True, layer=8, datatype=0))  # L8_0
inverter_hizuki1030.add(gdstk.Reference(nch_5, (14.8,7.4)))
inverter_hizuki1030.add(gdstk.Reference(pch_2_1, (12.2,110)))
inverter_hizuki1030.add(gdstk.Label('Q', (116.7,86.2), layer=8, texttype=0))
inverter_hizuki1030.add(gdstk.Label('VDD', (18.7,198.1), layer=8, texttype=0))
inverter_hizuki1030.add(gdstk.Label('A', (-27.8,85.9), layer=8, texttype=0))
inverter_hizuki1030.add(gdstk.Label('VSS', (22.4,-22.1), layer=8, texttype=0))

base_rev0_93 = lib.new_cell('base_Rev0.93')
base_rev0_93.add(gdstk.FlexPath([(-523.5,190.1),(-523.5,289.4),(-717.3,289.4)], 6, ends="flush", simple_path=True, layer=8, datatype=0))  # L8_0
base_rev0_93.add(gdstk.FlexPath([(-571.9,75.9),(-707.6,75.9)], 6, ends="flush", simple_path=True, layer=8, datatype=0))  # L8_0
base_rev0_93.add(gdstk.FlexPath([(-520.3,-34.6),(-520.3,-111.4),(-707,-111.4)], 6, ends="flush", simple_path=True, layer=8, datatype=0))  # L8_0
base_rev0_93.add(gdstk.FlexPath([(-424.3,78.6),(-424.3,-311.8),(-711.3,-311.8)], 6, ends="flush", simple_path=True, layer=8, datatype=0))  # L8_0
base_rev0_93.add(gdstk.FlexPath([(-408.8,-393.8),(-625.8,-393.8),(-625.8,-631.7),(-699.5,-631.7),(-699.5,-708.6)], 6, ends="flush", simple_path=True, layer=8, datatype=0))  # L8_0
base_rev0_93.add(gdstk.FlexPath([(-464,-532.8),(-503.1,-532.8),(-503.1,-712.3)], 6, ends="flush", simple_path=True, layer=8, datatype=0))  # L8_0
base_rev0_93.add(gdstk.FlexPath([(-409.8,-622.8),(-409.8,-671.7),(-302.1,-671.7),(-302.1,-720)], 6, ends="flush", simple_path=True, layer=8, datatype=0))  # L8_0
base_rev0_93.add(gdstk.FlexPath([(-313.4,-532.5),(-100.9,-532.5),(-100.9,-717.5)], 6, ends="flush", simple_path=True, layer=8, datatype=0))  # L8_0
base_rev0_93.add(gdstk.FlexPath([(403,-402.4),(99.8,-402.4),(99.8,-709.8)], 6, ends="flush", simple_path=True, layer=8, datatype=0))  # L8_0
base_rev0_93.add(gdstk.FlexPath([(355.9,-515.1),(299.3,-515.1),(299.3,-711.7)], 6, ends="flush", simple_path=True, layer=8, datatype=0))  # L8_0
base_rev0_93.add(gdstk.FlexPath([(397.3,-615.7),(397.3,-642.7),(499.7,-642.7),(499.7,-709.2)], 6, ends="flush", simple_path=True, layer=8, datatype=0))  # L8_0
base_rev0_93.add(gdstk.FlexPath([(497.5,-515),(633,-515),(633,-716.7),(694.3,-716.7)], 6, ends="flush", simple_path=True, layer=8, datatype=0))  # L8_0
base_rev0_93.add(gdstk.FlexPath([(479,-147.6),(479,-312.2),(713.6,-312.2)], 6, ends="flush", simple_path=True, layer=8, datatype=0))  # L8_0
base_rev0_93.add(gdstk.FlexPath([(600,10),(635.8,10),(635.8,-110.1),(712.1,-110.1)], 6, ends="flush", simple_path=True, layer=8, datatype=0))  # L8_0
base_rev0_93.add(gdstk.FlexPath([(472.5,175.4),(589.4,175.4),(589.4,89),(707.3,89)], 6, ends="flush", simple_path=True, layer=8, datatype=0))  # L8_0
base_rev0_93.add(gdstk.FlexPath([(356.3,7.3),(356.3,284.7),(705.7,284.7)], 6, ends="flush", simple_path=True, layer=8, datatype=0))  # L8_0
base_rev0_93.add(gdstk.FlexPath([(383.2,433.2),(651.2,433.2),(651.2,609.4),(697.6,609.4),(697.6,711.3)], 6, ends="flush", simple_path=True, layer=8, datatype=0))  # L8_0
base_rev0_93.add(gdstk.FlexPath([(491.6,524.1),(491.6,701.5)], 6, ends="flush", simple_path=True, layer=8, datatype=0))  # L8_0
base_rev0_93.add(gdstk.FlexPath([(389.4,622.7),(299.9,622.7),(299.9,706.6)], 6, ends="flush", simple_path=True, layer=8, datatype=0))  # L8_0
base_rev0_93.add(gdstk.FlexPath([(334.4,527.3),(97.8,527.3),(97.8,705.9)], 6, ends="flush", simple_path=True, layer=8, datatype=0))  # L8_0
base_rev0_93.add(gdstk.FlexPath([(-392,437.1),(-100.1,437.1),(-100.1,704.7)], 6, ends="flush", simple_path=True, layer=8, datatype=0))  # L8_0
base_rev0_93.add(gdstk.FlexPath([(-304.8,538.5),(-304.8,707.2)], 6, ends="flush", simple_path=True, layer=8, datatype=0))  # L8_0
base_rev0_93.add(gdstk.FlexPath([(-385.6,650.8),(-501.9,650.8),(-501.9,706.9)], 6, ends="flush", simple_path=True, layer=8, datatype=0))  # L8_0
base_rev0_93.add(gdstk.FlexPath([(-433.9,542),(-601.5,542),(-601.5,616.1),(-703.4,616.1),(-703.4,714.7)], 6, ends="flush", simple_path=True, layer=8, datatype=0))  # L8_0
base_rev0_93.add(gdstk.Reference(c_16_5x5_flame, (0,0)))
r = gdstk.Reference(base_array, (-320,-320)); r.repetition = gdstk.Repetition(2, 2, v1=(640,0), v2=(0,640)); base_rev0_93.add(r)
r = gdstk.Reference(pad_60_m1_tin, (700,720), rotation=pi/2); r.repetition = gdstk.Repetition(1, 8, v1=(0,0), v2=(-200,0)); base_rev0_93.add(r)
r = gdstk.Reference(pad_60_m1_tin, (700,-720), rotation=pi/2); r.repetition = gdstk.Repetition(1, 8, v1=(0,0), v2=(-200,0)); base_rev0_93.add(r)
r = gdstk.Reference(pad_60_m1_tin, (-720,488), rotation=pi); r.repetition = gdstk.Repetition(1, 6, v1=(0,0), v2=(0,-200)); base_rev0_93.add(r)
r = gdstk.Reference(pad_60_m1_tin, (720,488), rotation=pi); r.repetition = gdstk.Repetition(1, 6, v1=(0,0), v2=(0,-200)); base_rev0_93.add(r)
base_rev0_93.add(gdstk.Reference(inverter_takuzen, (-448,-572)))
base_rev0_93.add(gdstk.Reference(inverter_elderline, (542,-555)))
base_rev0_93.add(gdstk.Reference(inverter_pine_4_, (457,-10)))
base_rev0_93.add(gdstk.Reference(inverter_radioheadozawa, (284,466)))
base_rev0_93.add(gdstk.Reference(inverter_stevekasuya, (-490,491)))
base_rev0_93.add(gdstk.Reference(ishikai_logo, (-144.9,-89.6)))
base_rev0_93.add(gdstk.Reference(inverter_hizuki1030, (-542,-10)))
base_rev0_93.add(gdstk.Label('VDD1', (-710.557,-734.426), layer=8, texttype=0))
base_rev0_93.add(gdstk.Label('A1', (-519.606,-730.754), layer=8, texttype=0))
base_rev0_93.add(gdstk.Label('Q1', (-108.328,-732.59), layer=8, texttype=0))
base_rev0_93.add(gdstk.Label('VSS1', (-306.623,-732.591), layer=8, texttype=0))
base_rev0_93.add(gdstk.Label('A2', (290.098,-739.934), layer=8, texttype=0))
base_rev0_93.add(gdstk.Label('VDD2', (97.311,-738.099), layer=8, texttype=0))
base_rev0_93.add(gdstk.Label('Q2', (688.524,-732.591), layer=8, texttype=0))
base_rev0_93.add(gdstk.Label('VSS2', (482.885,-730.754), layer=8, texttype=0))
base_rev0_93.add(gdstk.Label('A3', (710.557,271.738), layer=8, texttype=0))
base_rev0_93.add(gdstk.Label('VDD3', (705.049,75.278), layer=8, texttype=0))
base_rev0_93.add(gdstk.Label('Q3', (701.377,-128.525), layer=8, texttype=0))
base_rev0_93.add(gdstk.Label('VSS3', (708.721,-330.492), layer=8, texttype=0))
base_rev0_93.add(gdstk.Label('VSS4', (688.525,701.377), layer=8, texttype=0))
base_rev0_93.add(gdstk.Label('Q4', (490.23,705.049), layer=8, texttype=0))
base_rev0_93.add(gdstk.Label('VDD4', (282.754,703.213), layer=8, texttype=0))
base_rev0_93.add(gdstk.Label('A4', (86.295,701.377), layer=8, texttype=0))
base_rev0_93.add(gdstk.Label('VSS5', (-113.836,708.721), layer=8, texttype=0))
base_rev0_93.add(gdstk.Label('Q5', (-313.967,705.049), layer=8, texttype=0))
base_rev0_93.add(gdstk.Label('VDD5', (-517.77,701.377), layer=8, texttype=0))
base_rev0_93.add(gdstk.Label('A5', (-710.557,708.721), layer=8, texttype=0))
base_rev0_93.add(gdstk.Label('VDD6', (-734.426,271.738), layer=8, texttype=0))
base_rev0_93.add(gdstk.Label('A6', (-727.082,71.607), layer=8, texttype=0))
base_rev0_93.add(gdstk.Label('VSS6', (-730.754,-139.541), layer=8, texttype=0))
base_rev0_93.add(gdstk.Label('Q6', (-732.59,-328.656), layer=8, texttype=0))
base_rev0_93.add(gdstk.Label('pin28', (-720,-511), layer=8, texttype=0))

lib.write_gds('base_Rev0.93.gds')
